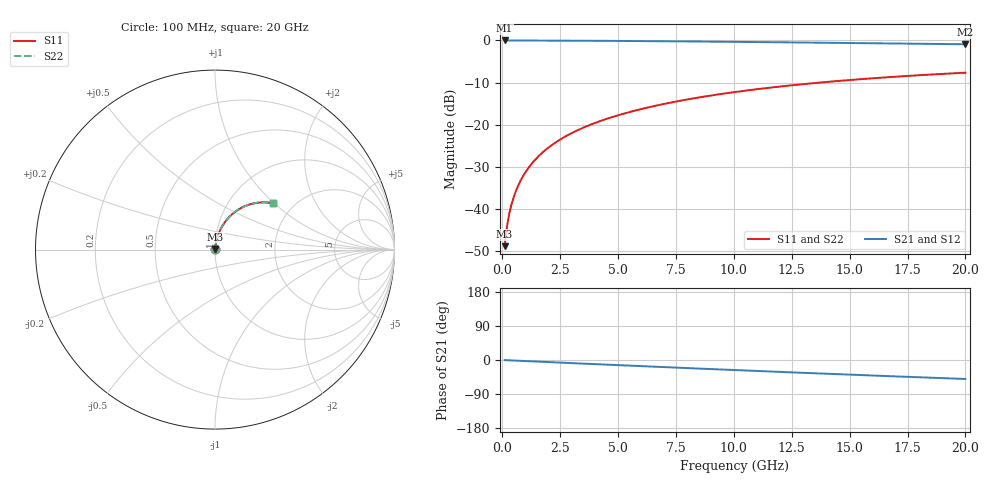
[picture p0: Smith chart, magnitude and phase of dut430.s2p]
! Touchstone file exported from HFSS 2026.1.0
!  File:  C:/ffzhzh/LocalFiles/Ansys_Project_Files/temp_train_TMRDL_430_1783005424_4048.aedt
!  Generated:  11:18:37 PM Jul  2, 2026
!  Design:  TMRDL
!  Project:  temp_train_TMRDL_430_1783005424_4048
! Variables:
!  h_bsmrdl = 2um
!  h_ox = 20um
!  h_rdl = 5um
!  h_sub = 80um
!  h_tmrdl = 5.93um
!  h_tsv = 80um
!  h_via = 3um
!  l_bsmrdl = 300um
!  l_sub = 1175.75um
!  l_tmrdl = 775.75um
!  m_sub = 200um
!  pitch = 52.31um
!  r_tsv = 6um
!  s_tmrdl = 10um
!  w_bsmrdl = 18um
!  w_sub = 500um
!  w_tmrdl = 23.44um
!  x_tsv_center1 = 787.47um
!  x_tsv_center2 = 1105.47um
!  x_tsv_center3 = 1904.66um
!  x_tsv_center4 = 2222.66um
!  x_tsv_center5 = 3021.85um
!  x_tsv_center6 = 3339.85um
# GHz S MA R 50.000000
! Terminal data exported
! Port[1] = TM_RDL1_1_T1
! Port[2] = TM_RDL1_1_T2
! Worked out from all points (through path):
!   200 points, 100 MHz to 20 GHz, reference 50 ohm
!   highest |S21| = -0.02 dB at 100 MHz (marker M1); lowest = -0.9 dB at 20 GHz (marker M2)
!   group delay of S21, straight-line fit = 6.95 ps
!   lowest |S11| = -48.8 dB at 100 MHz (marker M3), VSWR 1.01, Z = 50.2 + j0.293 ohm
!   |S11| at or under -10 dB: start of sweep to 13.72 GHz
!   |S22| runs from -48.8 to -7.7 dB; largest |S21 - S12| = 1e-14
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0.1  0.003635 53.3  0.9978 -0.3  0.9978 -0.3  0.003635 53.3
! Gamma 0 0 0 0
! Port Impedance 50 0 50 0
0.2  0.006182 67.4  0.9977 -0.6  0.9977 -0.6  0.006182 67.4
0.3  0.008797 72.9  0.9975 -0.9  0.9975 -0.9  0.008797 72.9
0.4  0.01142 75.9  0.9974 -1.1  0.9974 -1.1  0.01142 75.9
0.5  0.01406 77.7  0.9973 -1.4  0.9973 -1.4  0.01406 77.7
0.7  0.01936 79.8  0.9971 -2.0  0.9971 -2.0  0.01936 79.8
0.8  0.02202 80.4  0.997 -2.2  0.997 -2.2  0.02202 80.4
1  0.02734 81.0  0.9967 -2.8  0.9967 -2.8  0.02734 81.0
1.2  0.03267 81.2  0.9964 -3.3  0.9964 -3.3  0.03267 81.2
1.4  0.03798 81.2  0.9961 -3.9  0.9961 -3.9  0.03798 81.2
1.7  0.04591 80.9  0.9955 -4.7  0.9955 -4.7  0.04591 80.9
2  0.05379 80.4  0.9948 -5.5  0.9948 -5.5  0.05379 80.4
2.7  0.07196 79.0  0.993 -7.4  0.993 -7.4  0.07196 79.0
3.5  0.09231 77.2  0.9905 -9.6  0.9905 -9.6  0.09231 77.2
4.2  0.1098 75.5  0.9881 -11.5  0.9881 -11.5  0.1098 75.5
5  0.1294 73.6  0.9852 -13.6  0.9852 -13.6  0.1294 73.6
6.8  0.1722 69.2  0.9775 -18.3  0.9775 -18.3  0.1722 69.2
8.3  0.2063 65.5  0.9702 -22.2  0.9702 -22.2  0.2063 65.5
10.1  0.2453 61.2  0.9605 -26.7  0.9605 -26.7  0.2453 61.2
13.4  0.3104 53.3  0.9407 -34.8  0.9407 -34.8  0.3103 53.4
16.7  0.3667 45.8  0.9199 -42.6  0.9199 -42.6  0.3666 45.8
20  0.414 38.5  0.8995 -50.0  0.8995 -50.0  0.4139 38.6
